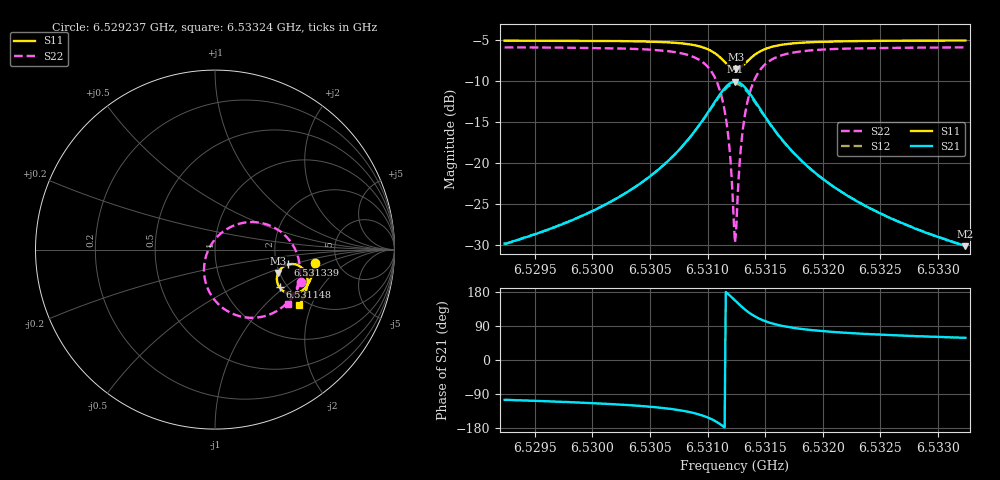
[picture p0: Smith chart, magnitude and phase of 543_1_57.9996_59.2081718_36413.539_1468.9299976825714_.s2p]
#  HZ  S  RI  R  50.00
! Rohde & Schwarz Vector Network Analyzer
! Rohde-Schwarz,ZNB20-2Port,1311601062101988,3.16
! Created: UTC 3/21/2024, 1:14:40 AM
! freq[Hz]  re:S11  im:S11  re:S21  im:S21  re:S12  im:S12  re:S22  im:S22
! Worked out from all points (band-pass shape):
!   401 points, 6.529237 GHz to 6.53324 GHz, reference 50 ohm
!   highest |S21| = -10.03 dB at 6.531239 GHz (marker M1); lowest = -30.2 dB at 6.53324 GHz (marker M2)
!   |S21| within 3 dB of the highest: 6.53104 GHz to 6.53144 GHz (400.5 kHz wide, 0.00613 % of centre)
!   lowest |S11| = -8.5 dB at 6.531249 GHz (marker M3), VSWR 2.20, Z = 98.3 - j29.7 ohm
!   |S11| at or under -10 dB: nowhere
!   |S22| runs from -29.8 to -5.8 dB; largest |S21 - S12| = 0.012
!   S11 on the Smith chart (normalised r, x): 6.529237 GHz: 3.37, -0.75; 6.531148 GHz: 1.82, -0.93; 6.531339 GHz: 2.31, -0.46; 6.53324 GHz: 1.82, -1.64
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6.5292366e9  0.5557 -0.0758  -0.00841 -0.031  -0.00887 -0.0306  0.4768 -0.1821
6.5299072e9  0.5441 -0.1319  -0.0182 -0.0438  -0.0192 -0.0433  0.4443 -0.2441
6.5302876e9  0.5312 -0.1673  -0.0312 -0.0574  -0.0327 -0.0567  0.4101 -0.2885
6.5305779e9  0.5139 -0.1989  -0.0533 -0.0746  -0.0554 -0.0733  0.3603 -0.3319
6.5308081e9  0.4857 -0.2282  -0.0944 -0.0937  -0.0971 -0.0904  0.2777 -0.3704
6.5309783e9  0.4406 -0.2463  -0.1643 -0.099  -0.1664 -0.0923  0.1496 -0.3741
6.5310784e9  0.3948 -0.2396  -0.235 -0.0708  -0.2337 -0.0609  0.0311 -0.315
6.5311485e9  0.3595 -0.2104  -0.2864 -0.00997  -0.2801 0.00019  -0.0453 -0.2044
6.5311885e9  0.3467 -0.1813  -0.3018 0.0446  -0.2923 0.0527  -0.0615 -0.1118
6.5312185e9  0.345 -0.1555  -0.2997 0.091  -0.2885 0.0963  -0.05 -0.036
6.5312285e9  0.3463 -0.1468  -0.2959 0.1066  -0.2846 0.1108  -0.0413 -0.0113
6.5312385e9  0.3487 -0.1381  -0.2907 0.1218  -0.279 0.1249  -0.03 0.0126
6.5312486e9  0.3517 -0.1296  -0.2837 0.1365  -0.2722 0.1384  -0.0165 0.0351
6.5312986e9  0.3786 -0.0963  -0.2323 0.1939  -0.2228 0.1918  0.0773 0.1208
6.5313386e9  0.4068 -0.0828  -0.1816 0.2169  -0.1748 0.2133  0.1643 0.1504
6.5314087e9  0.4512 -0.0834  -0.1041 0.2177  -0.1006 0.2143  0.294 0.1382
6.5315088e9  0.4897 -0.1068  -0.0379 0.1845  -0.0364 0.1827  0.4011 0.0681
6.531659e9  0.5114 -0.1439  0.00152 0.1358  0.00249 0.135  0.4589 -0.0297
6.5319092e9  0.516 -0.1879  0.0176 0.0883  0.0186 0.088  0.4726 -0.1287
6.5322195e9  0.5091 -0.225  0.0199 0.0595  0.0209 0.0594  0.4617 -0.1964
6.5325798e9  0.4969 -0.2582  0.0189 0.0422  0.0196 0.042  0.4435 -0.2453
6.5332405e9  0.4707 -0.3078  0.0162 0.0264  0.0167 0.0262  0.4089 -0.3045
